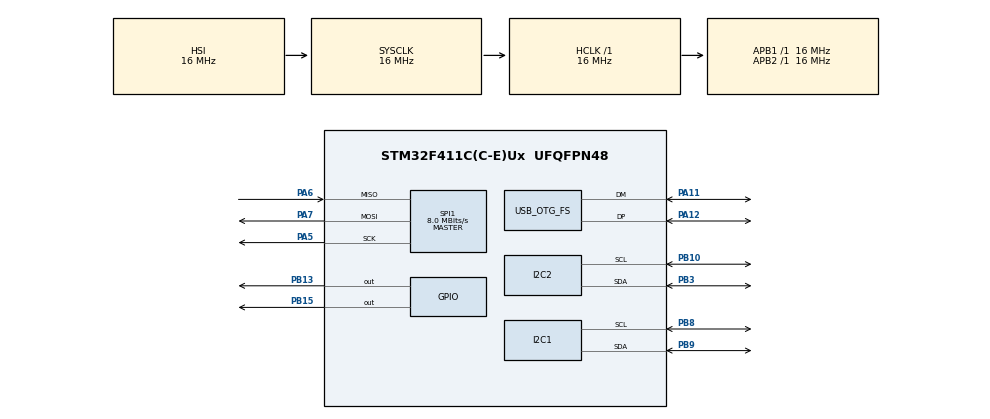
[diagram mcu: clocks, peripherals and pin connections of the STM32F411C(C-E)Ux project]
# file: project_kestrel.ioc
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Mcu.Family=STM32F4
Mcu.Name=STM32F411C(C-E)Ux
Mcu.Package=UFQFPN48
NVIC.OTG_FS_IRQn=true\:0\:0\:false\:false\:true\:true\:true\:true
NVIC.PriorityGroup=NVIC_PRIORITYGROUP_4
PA11.Mode=Device_Only
PA11.Signal=USB_OTG_FS_DM
PA12.Mode=Device_Only
PA12.Signal=USB_OTG_FS_DP
PA13.Mode=Serial_Wire
PA13.Signal=SYS_JTMS-SWDIO
PA14.Mode=Serial_Wire
PA14.Signal=SYS_JTCK-SWCLK
PA5.Mode=Full_Duplex_Master
PA5.Signal=SPI1_SCK
PA6.Mode=Full_Duplex_Master
PA6.Signal=SPI1_MISO
PA7.Mode=Full_Duplex_Master
PA7.Signal=SPI1_MOSI
PB10.Mode=I2C
PB10.Signal=I2C2_SCL
PB13.Signal=GPIO_Output
PB15.Signal=GPIO_Output
PB3.Mode=I2C
PB3.Signal=I2C2_SDA
PB8.Mode=I2C
PB8.Signal=I2C1_SCL
PB9.Mode=I2C
PB9.Signal=I2C1_SDA
PH0\ -\ OSC_IN.Mode=HSE-External-Oscillator
PH0\ -\ OSC_IN.Signal=RCC_OSC_IN
PH1\ -\ OSC_OUT.Mode=HSE-External-Oscillator
PH1\ -\ OSC_OUT.Signal=RCC_OSC_OUT
ProjectManager.HeapSize=0x200
ProjectManager.StackSize=0x400
ProjectManager.TargetToolchain=CMake
RCC.48MHZClocksFreq_Value=48000000
RCC.AHBFreq_Value=16000000
RCC.APB1Freq_Value=16000000
RCC.APB2Freq_Value=16000000
RCC.CortexFreq_Value=16000000
RCC.HSE_VALUE=25000000
RCC.HSI_VALUE=16000000
RCC.LSE_VALUE=32768
RCC.PLLM=15
RCC.PLLN=144
RCC.PLLQ=5
RCC.SYSCLKFreq_VALUE=16000000
RCC.VCOOutputFreq_Value=240000000
SPI1.CalculateBaudRate=8.0 MBits/s
SPI1.Direction=SPI_DIRECTION_2LINES
SPI1.Mode=SPI_MODE_MASTER
SPI1.VirtualType=VM_MASTER
USB_DEVICE.CLASS_NAME_FS=CDC
USB_DEVICE.VirtualMode=Cdc
USB_DEVICE.VirtualModeFS=Cdc_FS
USB_OTG_FS.VirtualMode=Device_Only
VP_USB_DEVICE_VS_USB_DEVICE_CDC_FS.Mode=CDC_FS
board=custom

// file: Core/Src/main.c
/* USER CODE BEGIN Header */
/**
  ******************************************************************************
  * @file           : main.c
  * @brief          : Main program body
  ******************************************************************************
  * @attention
  *
  * Copyright (c) 2026 STMicroelectronics.
  * All rights reserved.
  *
  * This software is licensed under terms that can be found in the LICENSE file
  * in the root directory of this software component.
  * If no LICENSE file comes with this software, it is provided AS-IS.
  *
  ******************************************************************************
  */
/* USER CODE END Header */
#include "main.h"
#include "stm32f4xx_hal.h"
#include "stm32f4xx_hal_gpio.h"
#include "usb_device.h"
#include "usbd_cdc_if.h"

/* USER CODE BEGIN Includes */

#include <math.h>
#include <stdint.h>
#include <stdio.h>
#include <stdbool.h>
#include "mpu6050.h"
#include "kalman.h"
#include "imu.h"
#include "baro.h"
#include "nrf24l01.h"

/* USER CODE END Includes */

I2C_HandleTypeDef hi2c1;
I2C_HandleTypeDef hi2c2;

SPI_HandleTypeDef hspi1;

void SystemClock_Config(void);
static void MX_GPIO_Init(void);
static void MX_I2C1_Init(void);
static void MX_I2C2_Init(void);
static void MX_SPI1_Init(void);

int main(void)
{

  /* MCU Configuration--------------------------------------------------------*/

  /* Reset of all peripherals, Initializes the Flash interface and the Systick. */
  HAL_Init();

  /* Configure the system clock */
  SystemClock_Config();

  /* Initialize all configured peripherals */
  MX_GPIO_Init();
  MX_I2C1_Init();
  MX_USB_DEVICE_Init();
  MX_I2C2_Init();
  MX_SPI1_Init();
  /* USER CODE BEGIN 2 */
  HAL_Delay(5000); // Wait 5 seconds

  // Initialize IMU
  IMU_System_Init();
  // Initialize BARO
  BARO_System_Init();
  // Initialize NRF24L01
  NRF24_Init();

  // Define timers
  uint32_t last_sensor_time = 0;
  uint32_t last_blink_time = 0;
  const uint32_t SENSOR_INTERVAL = 100; // Read sensors every 100ms
  const uint32_t BLINK_INTERVAL  = 500; // Blink LED every 500ms

  /* USER CODE END 2 */

  /* Infinite loop */
  while (1)
  {

    /* USER CODE BEGIN 3 */
    uint32_t current_time = HAL_GetTick();
    bool system_good = true;

    // --- Control Instrument Readings ---
    if (current_time - last_sensor_time >= SENSOR_INTERVAL) {
      // Save the time we ran this task
      last_sensor_time = current_time;

      // 1. IMU Update
      if (IMU_System_Update() != HAL_OK) {
        printf("IMU Failure! Check wires... \r\n");
        system_good = false;
      }
      else {
        Flight_Attitude_t att = IMU_GetAttitude();
        printf("Roll (y): %.2f | Pitch (x): %.2f | Yaw rate (z): %.2f \r\n", att.roll, att.pitch, att.yaw_rate);
      }

      // 2. BARO Update
      if (BARO_System_Update() != HAL_OK) {
        printf("BARO Failure! Check wires... \r\n");
        system_good = false;
      }
      else {
        // Get the altitude instructions
        BARO_FlightData_t alt = BARO_GetAltitude();
        printf("Altitude: %.2fm | Temperature: %.2f C \r\n", alt.altitude, alt.temperature);
      }
    }

    // --- Control LED Indicators ---
    if (current_time - last_blink_time >= BLINK_INTERVAL) {
      // Save the time we ran this task
      last_blink_time = current_time;

      if (system_good) {
        // Blink Green
        HAL_GPIO_TogglePin(GPIOB, GPIO_PIN_13);
      } else {
        // Blink Red
        HAL_GPIO_TogglePin(GPIOB, GPIO_PIN_15);
      }
    }
  }
  /* USER CODE END 3 */
}

void SystemClock_Config(void)
{
  RCC_OscInitTypeDef RCC_OscInitStruct = {0};
  RCC_ClkInitTypeDef RCC_ClkInitStruct = {0};

  /** Configure the main internal regulator output voltage
  */
  __HAL_RCC_PWR_CLK_ENABLE();
  __HAL_PWR_VOLTAGESCALING_CONFIG(PWR_REGULATOR_VOLTAGE_SCALE1);

  /** Initializes the RCC Oscillators according to the specified parameters
  * in the RCC_OscInitTypeDef structure.
  */
  RCC_OscInitStruct.OscillatorType = RCC_OSCILLATORTYPE_HSI|RCC_OSCILLATORTYPE_HSE;
  RCC_OscInitStruct.HSEState = RCC_HSE_ON;
  RCC_OscInitStruct.HSIState = RCC_HSI_ON;
  RCC_OscInitStruct.HSICalibrationValue = RCC_HSICALIBRATION_DEFAULT;
  RCC_OscInitStruct.PLL.PLLState = RCC_PLL_ON;
  RCC_OscInitStruct.PLL.PLLSource = RCC_PLLSOURCE_HSE;
  RCC_OscInitStruct.PLL.PLLM = 15;
  RCC_OscInitStruct.PLL.PLLN = 144;
  RCC_OscInitStruct.PLL.PLLP = RCC_PLLP_DIV2;
  RCC_OscInitStruct.PLL.PLLQ = 5;
  if (HAL_RCC_OscConfig(&RCC_OscInitStruct) != HAL_OK)
  {
    Error_Handler();
  }

  /** Initializes the CPU, AHB and APB buses clocks
  */
  RCC_ClkInitStruct.ClockType = RCC_CLOCKTYPE_HCLK|RCC_CLOCKTYPE_SYSCLK
                              |RCC_CLOCKTYPE_PCLK1|RCC_CLOCKTYPE_PCLK2;
  RCC_ClkInitStruct.SYSCLKSource = RCC_SYSCLKSOURCE_HSI;
  RCC_ClkInitStruct.AHBCLKDivider = RCC_SYSCLK_DIV1;
  RCC_ClkInitStruct.APB1CLKDivider = RCC_HCLK_DIV1;
  RCC_ClkInitStruct.APB2CLKDivider = RCC_HCLK_DIV1;

  if (HAL_RCC_ClockConfig(&RCC_ClkInitStruct, FLASH_LATENCY_0) != HAL_OK)
  {
    Error_Handler();
  }
}

static void MX_I2C1_Init(void)
{

  hi2c1.Instance = I2C1;
  hi2c1.Init.ClockSpeed = 100000;
  hi2c1.Init.DutyCycle = I2C_DUTYCYCLE_2;
  hi2c1.Init.OwnAddress1 = 0;
  hi2c1.Init.AddressingMode = I2C_ADDRESSINGMODE_7BIT;
  hi2c1.Init.DualAddressMode = I2C_DUALADDRESS_DISABLE;
  hi2c1.Init.OwnAddress2 = 0;
  hi2c1.Init.GeneralCallMode = I2C_GENERALCALL_DISABLE;
  hi2c1.Init.NoStretchMode = I2C_NOSTRETCH_DISABLE;
  if (HAL_I2C_Init(&hi2c1) != HAL_OK)
  {
    Error_Handler();
  }

}

static void MX_I2C2_Init(void)
{

  hi2c2.Instance = I2C2;
  hi2c2.Init.ClockSpeed = 100000;
  hi2c2.Init.DutyCycle = I2C_DUTYCYCLE_2;
  hi2c2.Init.OwnAddress1 = 0;
  hi2c2.Init.AddressingMode = I2C_ADDRESSINGMODE_7BIT;
  hi2c2.Init.DualAddressMode = I2C_DUALADDRESS_DISABLE;
  hi2c2.Init.OwnAddress2 = 0;
  hi2c2.Init.GeneralCallMode = I2C_GENERALCALL_DISABLE;
  hi2c2.Init.NoStretchMode = I2C_NOSTRETCH_DISABLE;
  if (HAL_I2C_Init(&hi2c2) != HAL_OK)
  {
    Error_Handler();
  }

}

static void MX_SPI1_Init(void)
{

  /* SPI1 parameter configuration*/
  hspi1.Instance = SPI1;
  hspi1.Init.Mode = SPI_MODE_MASTER;
  hspi1.Init.Direction = SPI_DIRECTION_2LINES;
  hspi1.Init.DataSize = SPI_DATASIZE_8BIT;
  hspi1.Init.CLKPolarity = SPI_POLARITY_LOW;
  hspi1.Init.CLKPhase = SPI_PHASE_1EDGE;
  hspi1.Init.NSS = SPI_NSS_SOFT;
  hspi1.Init.BaudRatePrescaler = SPI_BAUDRATEPRESCALER_2;
  hspi1.Init.FirstBit = SPI_FIRSTBIT_MSB;
  hspi1.Init.TIMode = SPI_TIMODE_DISABLE;
  hspi1.Init.CRCCalculation = SPI_CRCCALCULATION_DISABLE;
  hspi1.Init.CRCPolynomial = 10;
  if (HAL_SPI_Init(&hspi1) != HAL_OK)
  {
    Error_Handler();
  }

}

static void MX_GPIO_Init(void)
{
  GPIO_InitTypeDef GPIO_InitStruct = {0};

  /* GPIO Ports Clock Enable */
  __HAL_RCC_GPIOH_CLK_ENABLE();
  __HAL_RCC_GPIOA_CLK_ENABLE();
  __HAL_RCC_GPIOB_CLK_ENABLE();

  /*Configure GPIO pin Output Level */
  HAL_GPIO_WritePin(GPIOB, GPIO_PIN_13|GPIO_PIN_15, GPIO_PIN_RESET);

  /*Configure GPIO pins : PB13 PB15 */
  GPIO_InitStruct.Pin = GPIO_PIN_13|GPIO_PIN_15;
  GPIO_InitStruct.Mode = GPIO_MODE_OUTPUT_PP;
  GPIO_InitStruct.Pull = GPIO_NOPULL;
  GPIO_InitStruct.Speed = GPIO_SPEED_FREQ_LOW;
  HAL_GPIO_Init(GPIOB, &GPIO_InitStruct);

}

/* USER CODE BEGIN 4 */

int _write(int file, char *ptr, int len) {
    CDC_Transmit_FS((uint8_t*) ptr, len); return len;
}

/* USER CODE END 4 */

void Error_Handler(void)
{
  __disable_irq();
  while (1)
  {
  }
}
